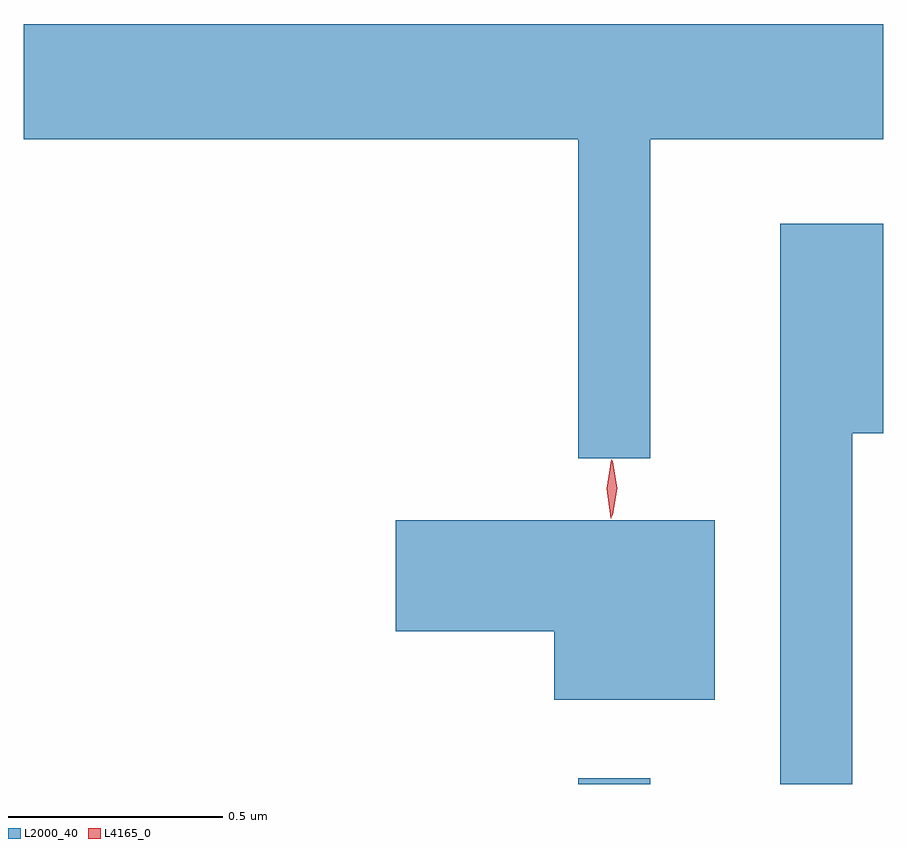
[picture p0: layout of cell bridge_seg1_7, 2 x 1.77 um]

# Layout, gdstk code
import gdstk
lib = gdstk.Library(unit=1e-6, precision=1e-09)
def R(c, l, rs):  # rectangles x0, y0, x1, y1
    for r in rs: c.add(gdstk.rectangle(r[:2], r[2:], *l))
def P(c, l, *ps):  # polygons
    for p in ps: c.add(gdstk.Polygon(p, *l))
L2000_40 = (2000, 40)
L4165_0 = (4165, 0)

bridge_seg1_7 = lib.new_cell('bridge_seg1_7')
R(bridge_seg1_7, L2000_40, [(1662.791,842.575,1662.959,842.588)])
P(bridge_seg1_7, L2000_40, [(1662.959,844.076),(1663.501,844.076),(1663.501,844.344),(1661.501,844.344),(1661.501,844.076),(1662.791,844.076),(1662.791,843.333),(1662.959,843.333)],
  [(1663.429,843.391),(1663.501,843.391),(1663.501,843.879),(1663.261,843.879),(1663.261,842.575),(1663.429,842.575)],
  [(1663.109,843.189),(1662.366,843.189),(1662.366,842.931),(1662.736,842.931),(1662.736,842.771),(1663.109,842.771)])
P(bridge_seg1_7, L4165_0, [(1662.867,843.194),(1662.867,843.194),(1662.858,843.262),(1662.868,843.33),(1662.869,843.33),(1662.869,843.33),(1662.878,843.262),(1662.868,843.194)],
  [(1662.871,843.2),(1662.862,843.263),(1662.871,843.326),(1662.872,843.327),(1662.872,843.326),(1662.882,843.263),(1662.872,843.2),(1662.872,843.2)])

lib.write_gds('bridge_seg1_7.gds')
